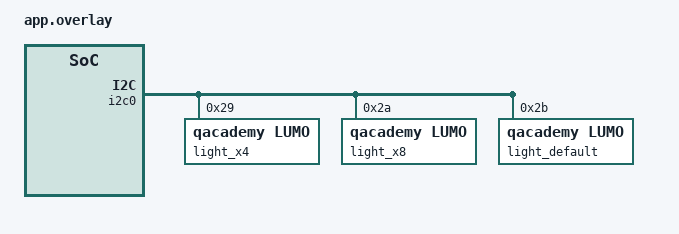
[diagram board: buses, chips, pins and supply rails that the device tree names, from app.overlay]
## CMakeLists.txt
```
# SPDX-License-Identifier: MIT
#
# A ztest application for the Lumo driver in your module. ci/suite.py passes the exercise set's
# directory, in your workspace or in the solutions, as EXERCISE_DIR. That directory is your module;
# ../lumo_emul is the course's emulator, which plays the part on native_sim's I2C bus.

cmake_minimum_required(VERSION 3.20.0)

if(NOT DEFINED EXERCISE_DIR)
  message(FATAL_ERROR "Run this suite with 'make test', which sets -DEXERCISE_DIR.")
endif()

list(APPEND ZEPHYR_EXTRA_MODULES ${EXERCISE_DIR} ${CMAKE_CURRENT_SOURCE_DIR}/../lumo_emul)

find_package(Zephyr REQUIRED HINTS $ENV{ZEPHYR_BASE})
project(l05_gain_test)

target_sources(app PRIVATE src/main.c)
```

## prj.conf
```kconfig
# The test framework, the sensor subsystem and emulators. CONFIG_LUMO is deliberately not set: the
# devicetree node must turn it on.
CONFIG_ZTEST=y
CONFIG_SENSOR=y
CONFIG_EMUL=y
CONFIG_LOG=y
```

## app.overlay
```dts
/*
 * SPDX-License-Identifier: MIT
 *
 * Three parts: two with a gain from the devicetree, and one that keeps the binding's default.
 */

&i2c0 {
	light_x4: lumo@29 {
		compatible = "qacademy,lumo";
		reg = <0x29>;
		gain = <4>;
	};

	light_x8: lumo@2a {
		compatible = "qacademy,lumo";
		reg = <0x2a>;
		gain = <8>;
	};

	light_default: lumo@2b {
		compatible = "qacademy,lumo";
		reg = <0x2b>;
	};
};
```

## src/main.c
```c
/*
 * SPDX-License-Identifier: MIT
 *
 * Tests for Exercise Set 3: the gain property, written to the part at init and used in conversion.
 */

#include <zephyr/device.h>
#include <zephyr/drivers/emul.h>
#include <zephyr/drivers/emul_sensor.h>
#include <zephyr/drivers/sensor.h>
#include <zephyr/ztest.h>

#include <qacademy/lumo_emul.h>

#define GAIN_MASK 0x03

static const struct device *const light_x4 = DEVICE_DT_GET(DT_NODELABEL(light_x4));
static const struct device *const light_x8 = DEVICE_DT_GET(DT_NODELABEL(light_x8));
static const struct device *const light_default = DEVICE_DT_GET(DT_NODELABEL(light_default));

static struct sensor_value read_counts(const struct device *dev, uint16_t counts)
{
	struct sensor_value value;

	lumo_emul_set_counts(EMUL_DT_GET(DT_NODELABEL(light_x4)), counts);
	lumo_emul_set_counts(EMUL_DT_GET(DT_NODELABEL(light_x8)), counts);
	lumo_emul_set_counts(EMUL_DT_GET(DT_NODELABEL(light_default)), counts);
	zassert_ok(sensor_sample_fetch(dev));
	zassert_ok(sensor_channel_get(dev, SENSOR_CHAN_LIGHT, &value));

	return value;
}

ZTEST_SUITE(gain, NULL, NULL, NULL, NULL, NULL);

ZTEST(gain, test_gain_is_written_at_init)
{
	zassert_equal(lumo_emul_get_config(EMUL_DT_GET(DT_NODELABEL(light_x4))) & GAIN_MASK, 2,
		      "a gain of 4 is GAIN = 2 in CONFIG");
	zassert_equal(lumo_emul_get_config(EMUL_DT_GET(DT_NODELABEL(light_x8))) & GAIN_MASK, 3,
		      "a gain of 8 is GAIN = 3 in CONFIG");
	zassert_equal(lumo_emul_get_config(EMUL_DT_GET(DT_NODELABEL(light_default))) & GAIN_MASK, 0,
		      "the default gain of 1 is GAIN = 0 in CONFIG");
}

ZTEST(gain, test_default_gain_is_one)
{
	struct sensor_value value = read_counts(light_default, 4);

	zassert_equal(value.val1, 1, "4 counts at a gain of 1 is 1 lux, not %d.%06d", value.val1,
		      value.val2);
	zassert_equal(value.val2, 0);
}

ZTEST(gain, test_one_count_at_gain_4)
{
	struct sensor_value value = read_counts(light_x4, 1);

	zassert_equal(value.val1, 0);
	zassert_equal(value.val2, 62500, "1 count at a gain of 4 is 0.0625 lux, not %d.%06d",
		      value.val1, value.val2);
}

ZTEST(gain, test_saturated_at_gain_8)
{
	struct sensor_value value = read_counts(light_x8, 0xFFFF);

	zassert_equal(value.val1, 2047,
		      "0xFFFF counts at a gain of 8 is 2047.96875 lux, not %d.%06d", value.val1,
		      value.val2);
	zassert_equal(value.val2, 968750);
}

ZTEST(gain, test_light_set_in_lux_at_gain_4)
{
	/* At a gain of 4, 42.1 lux is 673.6 counts, which the part rounds to 674: 42.125 lux. */
	const struct emul *emul = EMUL_DT_GET(DT_NODELABEL(light_x4));
	const int8_t shift = 15;
	const q31_t lux = (q31_t)(42100LL * (1LL << (31 - shift)) / 1000);
	struct sensor_value value;

	zassert_ok(emul_sensor_backend_set_channel(
		emul, (struct sensor_chan_spec){SENSOR_CHAN_LIGHT, 0}, &lux, shift));
	zassert_ok(sensor_sample_fetch(light_x4));
	zassert_ok(sensor_channel_get(light_x4, SENSOR_CHAN_LIGHT, &value));
	zassert_equal(value.val1, 42);
	zassert_equal(value.val2, 125000);
}
```
